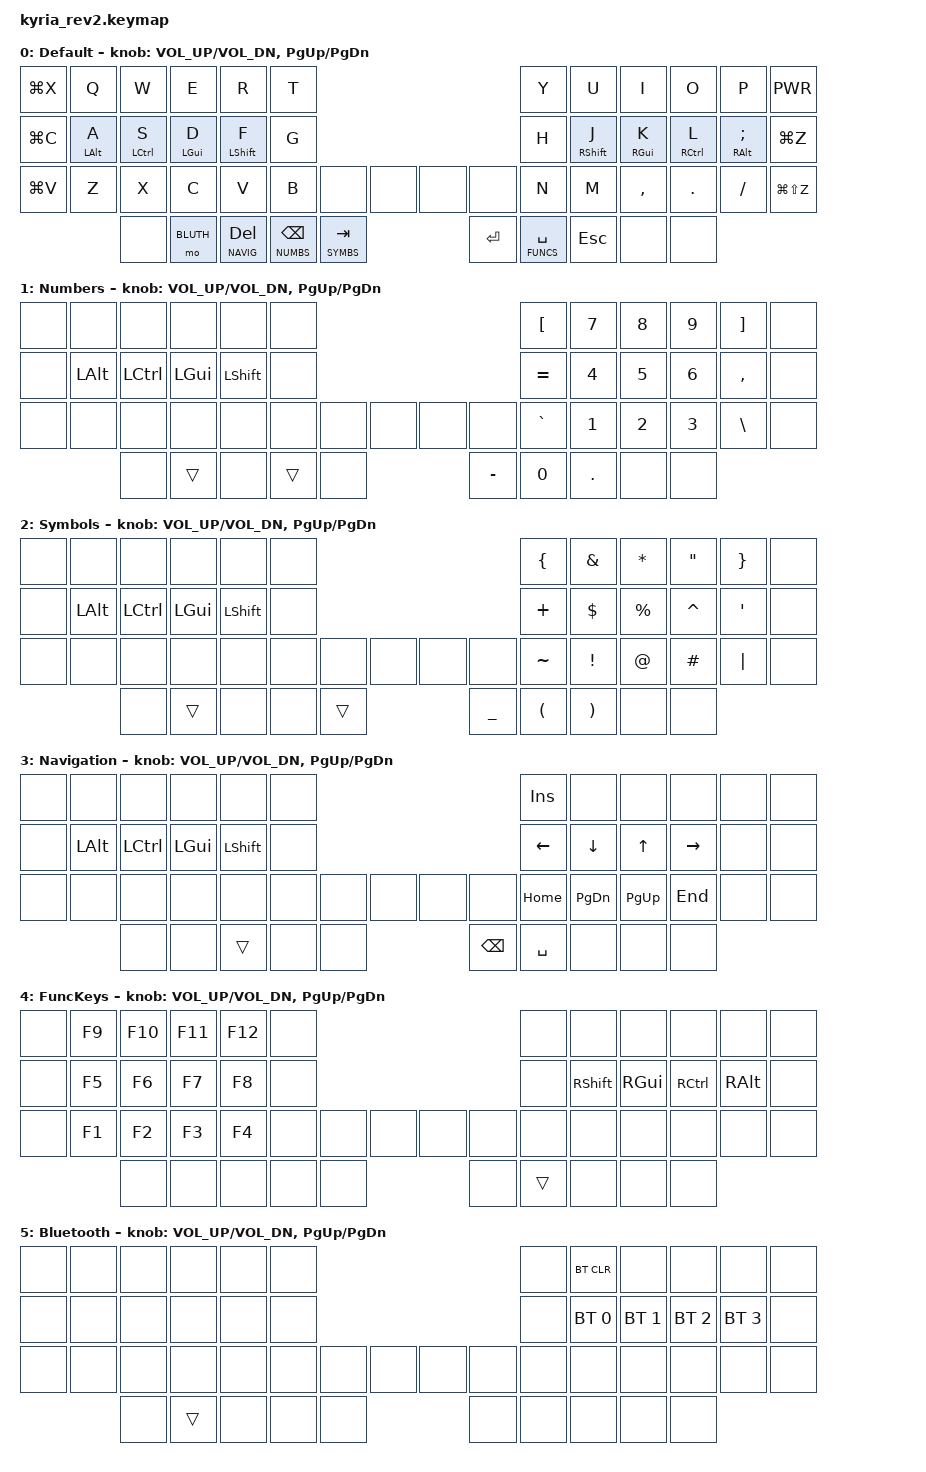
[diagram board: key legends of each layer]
/*
 * Copyright (c) 2020 The ZMK Contributors
 *
 * SPDX-License-Identifier: MIT
 */


#include <behaviors.dtsi>
#include <dt-bindings/zmk/bt.h>
#include <dt-bindings/zmk/keys.h>

#define DEFLT 0
#define NUMBS 1
#define SYMBS 2
#define NAVIG 3
#define FUNCS 4
#define BLUTH 5

&mt {
  quick-tap-ms = <200>;
};

&lt {
  quick-tap-ms = <200>;
};

/ {
  keymap {
    compatible = "zmk,keymap";

    default_layer {
      label = "Default";
      bindings = <
  &kp LG(X) &kp Q      &kp W       &kp E      &kp R       &kp T                                  &kp Y &kp U       &kp I      &kp O       &kp P         &kp C_PWR
  &kp LG(C) &mt LALT A &mt LCTRL S &mt LGUI D &mt LSHFT F &kp G                                  &kp H &mt RSHFT J &mt RGUI K &mt RCTRL L &mt RALT SEMI &kp LG(Z)
  &kp LG(V) &kp Z      &kp X       &kp C      &kp V       &kp B &none &none          &none &none &kp N &kp M       &kp COMMA  &kp DOT     &kp FSLH      &kp LG(LS(Z))
                       &none &mo BLUTH &lt NAVIG DEL &lt NUMBS BSPC &lt SYMBS TAB    &kp RET &lt FUNCS SPACE &kp ESC &none &none
      >;

      sensor-bindings = <&inc_dec_kp C_VOL_UP C_VOL_DN &inc_dec_kp PG_UP PG_DN>;
    };

    numbers_layer {
      label = "Numbers";
      bindings = <
  &none &none    &none     &none    &none     &none                                &kp LBKT  &kp N7 &kp N8 &kp N9 &kp RBKT  &none
  &none &kp LALT &kp LCTRL &kp LGUI &kp LSHFT &none                                &kp EQUAL &kp N4 &kp N5 &kp N6 &kp COMMA &none
  &none &none    &none     &none    &none     &none &none &none        &none &none &kp GRAVE &kp N1 &kp N2 &kp N3 &kp BSLH  &none
                                &none &trans &none &trans &none        &kp MINUS &kp N0 &kp DOT &none &none
      >;

      sensor-bindings = <&inc_dec_kp C_VOL_UP C_VOL_DN &inc_dec_kp PG_UP PG_DN>;
    };

    symbols_layer {
      label = "Symbols";
      bindings = <
  &none &none    &none     &none    &none     &none                                &kp LBRC  &kp AMPS &kp ASTRK &kp DQT   &kp RBRC &none
  &none &kp LALT &kp LCTRL &kp LGUI &kp LSHFT &none                                &kp PLUS  &kp DLLR &kp PRCNT &kp CARET &kp SQT  &none
  &none &none    &none     &none    &none     &none &none &none        &none &none &kp TILDE &kp EXCL &kp AT    &kp POUND &kp PIPE &none
                                &none &trans &none &none &trans        &kp UNDER &kp LPAR &kp RPAR &none &none
      >;

      sensor-bindings = <&inc_dec_kp C_VOL_UP C_VOL_DN &inc_dec_kp PG_UP PG_DN>;
    };

    navigation_layer {
      label = "Navigation";
      bindings = <
  &none &none    &none     &none    &none     &none                                &kp INS  &none     &none     &none     &none &none
  &none &kp LALT &kp LCTRL &kp LGUI &kp LSHFT &none                                &kp LEFT &kp DOWN  &kp UP    &kp RIGHT &none &none
  &none &none    &none     &none    &none     &none &none &none        &none &none &kp HOME &kp PG_DN &kp PG_UP &kp END   &none &none
                                 &none &none &trans &none &none        &kp BSPC &kp SPACE &none &none &none
      >;

      sensor-bindings = <&inc_dec_kp C_VOL_UP C_VOL_DN &inc_dec_kp PG_UP PG_DN>;
    };

    functions_layer {
      label = "FuncKeys";
      bindings = <
  &none &kp F9 &kp F10 &kp F11 &kp F12 &none                                &none &none     &none    &none     &none    &none
  &none &kp F5 &kp F6  &kp F7  &kp F8  &none                                &none &kp RSHFT &kp RGUI &kp RCTRL &kp RALT &none
  &none &kp F1 &kp F2  &kp F3  &kp F4  &none &none &none        &none &none &none &none     &none    &none     &none    &none
                           &none &none &none &none &none        &none &trans &none &none &none
      >;

      sensor-bindings = <&inc_dec_kp C_VOL_UP C_VOL_DN &inc_dec_kp PG_UP PG_DN>;
    };

    bluetooth_layer {
      label = "Bluetooth";
      bindings = <
  &none &none &none &none &none &none                           &none &bt BT_CLR   &none        &none        &none        &none
  &none &none &none &none &none &none                           &none &bt BT_SEL 0 &bt BT_SEL 1 &bt BT_SEL 2 &bt BT_SEL 3 &none
  &none &none &none &none &none &none &none &none   &none &none &none &none        &none        &none        &none        &none
                   &none &trans &none &none &none   &none &none &none &none &none
      >;

      sensor-bindings = <&inc_dec_kp C_VOL_UP C_VOL_DN &inc_dec_kp PG_UP PG_DN>;
    };
  };
};
